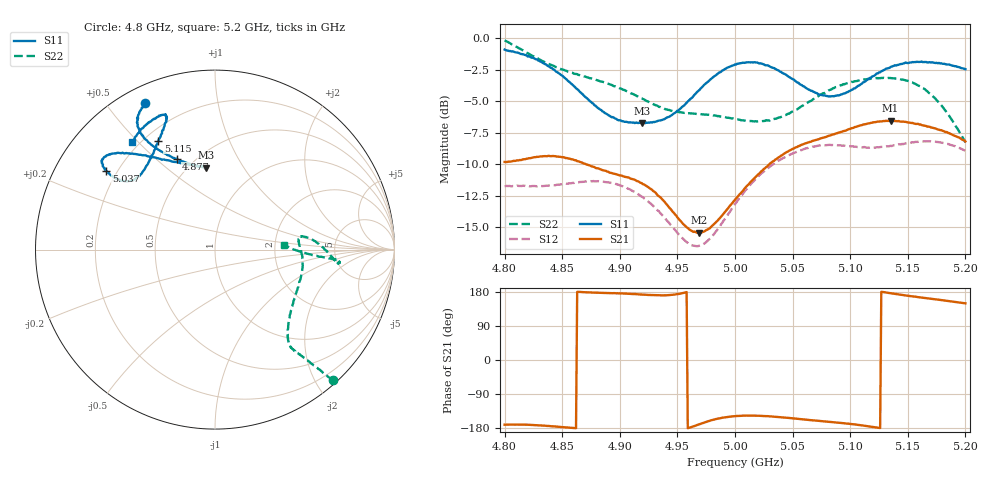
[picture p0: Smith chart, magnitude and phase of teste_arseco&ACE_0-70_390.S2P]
! Network Analyzer HP8722D
! Hewlett-Packard
! Data name: Linha & Wilkinson
! Saver's name: Rodrigo Anjos
! Comments: Teste da utilização de aquisição
! continua pelo VNA HP8722D
! Time and date: 8/5/2025 16:00
!  Frequency  S11  S21  S12  S22
# HZ  S  MA R 50
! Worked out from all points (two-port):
!   401 points, 4.8 GHz to 5.2 GHz, reference 50 ohm
!   highest |S21| = -6.54 dB at 5.135 GHz (marker M1); lowest = -15.5 dB at 4.969 GHz (marker M2)
!   |S21| within 3 dB of the highest: 4.821 GHz to 4.855 GHz (34.2 MHz wide, 0.707 % of centre); 5.037 GHz to end of sweep
!   lowest |S11| = -6.7 dB at 4.919 GHz (marker M3), VSWR 2.70, Z = 30.1 + j34.9 ohm
!   |S11| at or under -10 dB: nowhere
!   |S22| runs from -8.3 to -0.2 dB; largest |S21 - S12| = 0.83
!   S11 on the Smith chart (normalised r, x): 4.8 GHz: 0.07, +0.63; 4.877 GHz: 0.40, +0.59; 5.037 GHz: 0.16, +0.32; 5.115 GHz: 0.25, +0.58; 5.2 GHz: 0.17, +0.48
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4.8e9  0.903 115.6  0.3227 -170.7  0.2585 -86.3  0.9816 -47.9
4.832e9  0.8059 122.2  0.3395 -172.8  0.2588 -77.8  0.8169 -49.9
4.849e9  0.7158 121.9  0.3378 -176.8  0.2632 -72.2  0.7549 -50.9
4.867e9  0.6038 117.5  0.3211 179.2  0.2687 -67.9  0.7112 -51.9
4.877e9  0.5499 112.9  0.3087 177.9  0.2711 -66.9  0.6902 -52.1
4.9e9  0.4729 100.8  0.2854 175.9  0.2603 -67.4  0.633 -50.3
4.919e9  0.4598 96.2  0.2659 172.9  0.2347 -69.6  0.5776 -44.8
4.934e9  0.471 100.1  0.2356 170.6  0.2053 -69.9  0.5343 -36.9
4.958e9  0.5546 116.8  0.1776 179.1  0.1549 -58.6  0.5026 -21.1
4.969e9  0.6226 124.3  0.1687 -169.7  0.15 -46.3  0.5008 -14.8
4.98e9  0.6949 129.9  0.1796 -158.6  0.1632 -34.0  0.4948 -9.1
5e9  0.7879 137.4  0.2281 -148.3  0.2195 -21.6  0.4786 -0.4
5.018e9  0.8027 141.9  0.2813 -147.0  0.2765 -19.0  0.4686 5.7
5.037e9  0.7481 144.0  0.3347 -150.3  0.3246 -19.2  0.4827 8.6
5.067e9  0.6181 141.9  0.3908 -159.0  0.371 -21.5  0.5688 3.9
5.088e9  0.5923 132.8  0.4195 -164.9  0.3761 -24.7  0.6406 -2.6
5.115e9  0.6848 117.5  0.4587 -174.5  0.3676 -27.6  0.69 -6.3
5.134e9  0.7633 110.8  0.4691 176.7  0.3726 -29.7  0.6963 -5.7
5.135e9  0.7692 110.8  0.4712 176.3  0.3741 -29.8  0.6957 -5.5
5.162e9  0.809 112.7  0.4523 164.6  0.3892 -36.5  0.6388 -4.5
5.179e9  0.7961 118.6  0.4318 158.0  0.3851 -41.8  0.5426 -3.2
5.2e9  0.7543 127.6  0.3894 149.5  0.3575 -47.6  0.3861 3.5
